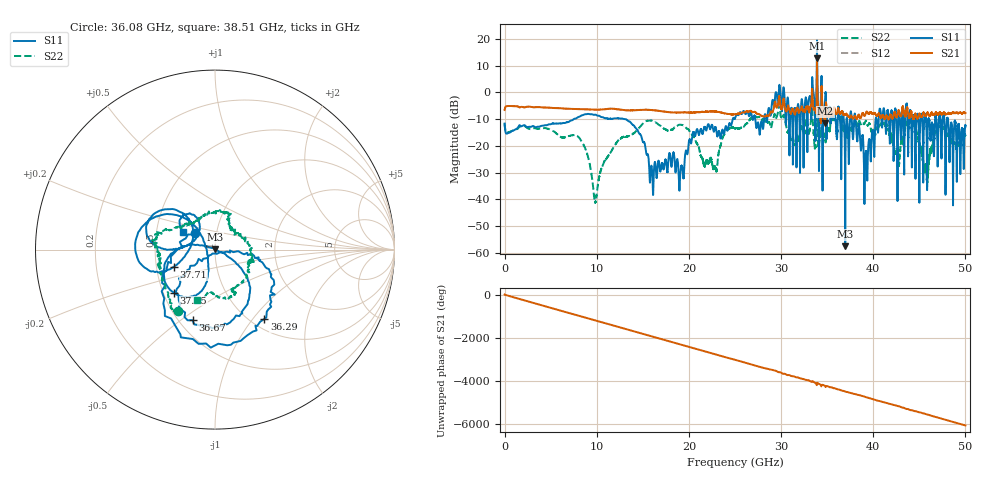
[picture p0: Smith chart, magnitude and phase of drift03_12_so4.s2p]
!Created with skrf (http://scikit-rf.org).
# Hz S RI R 50.0
!freq ReS11 ImS11 ReS21 ImS21 ReS12 ImS12 ReS22 ImS22
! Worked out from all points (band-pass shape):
!   10001 points, 300 kHz to 50 GHz, reference 50 ohm
!   highest |S21| = 12.80 dB at 33.9 GHz (marker M1); lowest = -11.5 dB at 34.79 GHz (marker M2)
!   |S21| within 3 dB of the highest: 33.88985 GHz to 33.90558 GHz (15.73 MHz wide, 0.0464 % of centre)
!   lowest |S11| = -57.5 dB at 36.96 GHz (marker M3), VSWR 1.00, Z = 49.9 + j0.123 ohm
!   |S11| at or under -10 dB: start of sweep to 7.486 GHz; 13.13 GHz to 24.74 GHz (11.62 GHz wide, 61.3 % of centre); 38.08 GHz to 40.26 GHz (2.174 GHz wide, 5.55 % of centre) (the widest 3 of 51)
!   |S22| runs from -41.2 to 5.2 dB; largest |S21 - S12| = 0.32
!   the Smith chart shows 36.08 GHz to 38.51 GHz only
!   S11 on the Smith chart (normalised r, x): 36.08 GHz: 0.79, +0.15; 36.29 GHz: 1.15, -1.14; 36.67 GHz: 0.58, -0.55; 37.15 GHz: 0.57, -0.31; 37.71 GHz: 0.62, -0.13; 38.51 GHz: 0.68, +0.14
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300000  -0.2361 -0.1139  0.4666 0.0751  0.4653 0.0764  -0.2361 -0.1212
1.440291e9  0.2098 0.0645  -0.5477 -0.0295  -0.5481 -0.0292  0.211 -0.0044
2.915283e9  -0.2119 -0.0881  0.5342 0.0513  0.5344 0.0511  -0.2027 0.04
8.33525e9  0.2883 -0.2332  0.147 0.4654  0.1466 0.4656  -0.0731 -0.1007
9.855241e9  -0.3612 0.1347  -0.1577 -0.4489  -0.158 -0.4492  0.00869 0.00224
1.66702e10  0.0277 0.0444  -0.3777 0.2552  -0.3783 0.2541  -0.1262 -0.2186
2.500015e10  -0.3259 -0.0143  -0.2554 -0.2962  -0.2547 -0.2974  -0.2126 0.026
2.895513e10  -0.3228 0.4314  -0.287 0.3271  -0.2969 0.2916  0.0644 0.2193
3.006512e10  0.3955 0.2629  0.4477 -0.1976  0.4504 -0.1829  0.1703 -0.2987
3.171011e10  -0.0874 0.1873  -0.3594 0.3566  -0.3591 0.3545  0.0649 0.158
3.33351e10  0.573 -0.81  0.2323 -0.8242  0.2352 -0.8037  -0.1893 -0.4069
3.38951e10  -2.364 -9.097  -4.297 0.7685  -4.023 0.9243  0.4813 1.75
3.478509e10  -0.7093 0.1275  -0.0139 0.2643  -0.00266 0.3234  0.1058 -0.1363
3.608008e10  -0.1093 0.0919  0.2659 -0.3197  0.2736 -0.3112  -0.2078 -0.3421
3.628508e10  0.2753 -0.3857  0.1488 -0.4063  0.1516 -0.3982  -0.3002 -0.1315
3.666508e10  -0.1252 -0.3932  -0.2327 -0.3633  -0.2411 -0.3795  -0.233 0.1095
3.696008e10  -0.000518 0.00123  -0.3705 -0.1128  -0.368 -0.1135  -0.00675 0.2065
3.714508e10  -0.2275 -0.2401  -0.3922 -0.00861  -0.3848 -0.00968  0.0884 0.135
3.770507e10  -0.2302 -0.0965  -0.1556 0.3103  -0.1523 0.2988  0.1839 -0.1223
3.851007e10  -0.1799 0.1002  0.3008 0.1857  0.3104 0.1946  -0.0981 -0.2786
4.167005e10  -0.1916 0.3002  0.3127 0.00646  0.3141 0.0119  -0.1946 -0.00497
5e10  -0.131 -0.2055  0.1464 0.3862  0.1467 0.3822  -0.0546 -0.1448
